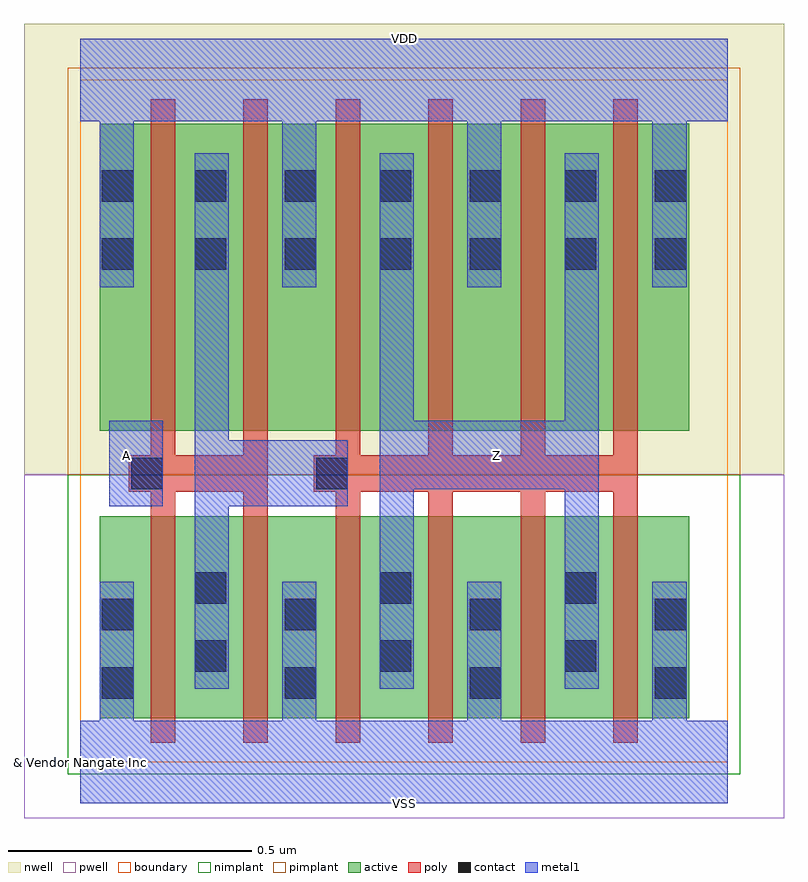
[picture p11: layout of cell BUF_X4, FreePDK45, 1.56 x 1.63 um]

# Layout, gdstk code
import gdstk
lib = gdstk.Library(unit=1e-6, precision=1e-10)
def R(c, l, rs):  # rectangles x0, y0, x1, y1
    for r in rs: c.add(gdstk.rectangle(r[:2], r[2:], *l))
def A(c, l, x, y, w, h, nx, ny, dx, dy):  # array of equal rectangles
    R(c, l, [(x+i*dx, y+j*dy, x+i*dx+w, y+j*dy+h) for i in range(nx) for j in range(ny)])
def P(c, l, *ps):  # polygons
    for p in ps: c.add(gdstk.Polygon(p, *l))
active = (1, 0)
pwell = (2, 0)
nwell = (3, 0)
nimplant = (4, 0)
pimplant = (5, 0)
poly = (9, 0)
contact = (10, 0)
metal1 = (11, 0)
boundary = (235, 0)

buf_x4 = lib.new_cell('BUF_X4')
R(buf_x4, active, [(0.04,0.09,1.25,0.505), (0.04,0.68,1.25,1.31)])
R(buf_x4, pwell, [(-0.115,-0.115,1.445,0.59)])
R(buf_x4, nwell, [(-0.115,0.59,1.445,1.515)])
R(buf_x4, nimplant, [(-0.025,-0.025,1.355,0.59)])
R(buf_x4, pimplant, [(-0.025,0.59,1.355,1.425)])
P(buf_x4, poly, [(0.145,0.04),(0.145,0.555),(0.1,0.555),(0.1,0.63),(0.145,0.63),(0.145,1.36),(0.195,1.36),(0.195,0.63),(0.335,0.63),(0.335,1.36),(0.385,1.36),(0.385,0.04),(0.335,0.04),(0.335,0.555),(0.195,0.555),(0.195,0.04)],
  [(0.525,0.04),(0.525,0.555),(0.48,0.555),(0.48,0.63),(0.525,0.63),(0.525,1.36),(0.575,1.36),(0.575,0.63),(0.715,0.63),(0.715,1.36),(0.765,1.36),(0.765,0.63),(0.905,0.63),(0.905,1.36),(0.955,1.36),(0.955,0.63),(1.095,0.63),(1.095,1.36),(1.145,1.36),(1.145,0.04),(1.095,0.04),(1.095,0.555),(0.955,0.555),(0.955,0.04),(0.905,0.04),(0.905,0.555),(0.765,0.555),(0.765,0.04),(0.715,0.04),(0.715,0.555),(0.575,0.555),(0.575,0.04)])
A(buf_x4, contact, 0.42, 0.13, 0.065, 0.065, 3, 2, 0.38, 0.14)
A(buf_x4, contact, 0.235, 0.185, 0.065, 0.065, 3, 2, 0.38, 0.14)
R(buf_x4, contact, [(0.045,0.13,0.11,0.195), (0.045,0.27,0.11,0.335), (0.105,0.56,0.17,0.625), (0.485,0.56,0.55,0.625), (0.045,1.01,0.11,1.075), (0.235,1.01,0.3,1.075), (0.42,1.01,0.485,1.075), (0.615,1.01,0.68,1.075), (0.8,1.01,0.865,1.075), (0.995,1.01,1.06,1.075), (1.18,1.01,1.245,1.075), (0.045,1.15,0.11,1.215), (0.235,1.15,0.3,1.215), (0.42,1.15,0.485,1.215), (0.615,1.15,0.68,1.215), (0.8,1.15,0.865,1.215), (0.995,1.15,1.06,1.215), (1.18,1.15,1.245,1.215)])
R(buf_x4, metal1, [(0.06,0.525,0.17,0.7)])
P(buf_x4, metal1, [(0.235,0.15),(0.235,1.25),(0.305,1.25),(0.305,0.66),(0.55,0.66),(0.55,0.525),(0.305,0.525),(0.305,0.15)],
  [(0.615,0.15),(0.615,1.25),(0.685,1.25),(0.685,0.7),(0.995,0.7),(0.995,1.25),(1.065,1.25),(1.065,0.15),(0.995,0.15),(0.995,0.56),(0.685,0.56),(0.685,0.15)],
  [(0,-0.085),(0,0.085),(0.04,0.085),(0.04,0.37),(0.11,0.37),(0.11,0.085),(0.415,0.085),(0.415,0.37),(0.485,0.37),(0.485,0.085),(0.795,0.085),(0.795,0.37),(0.865,0.37),(0.865,0.085),(1.175,0.085),(1.175,0.37),(1.245,0.37),(1.245,0.085),(1.33,0.085),(1.33,-0.085)],
  [(0.04,0.975),(0.04,1.315),(0,1.315),(0,1.485),(1.33,1.485),(1.33,1.315),(1.245,1.315),(1.245,0.975),(1.175,0.975),(1.175,1.315),(0.865,1.315),(0.865,0.975),(0.795,0.975),(0.795,1.315),(0.485,1.315),(0.485,0.975),(0.415,0.975),(0.415,1.315),(0.11,1.315),(0.11,0.975)])
R(buf_x4, boundary, [(0,0,1.33,1.4)])
buf_x4.add(gdstk.Label('A', (0.095,0.63), layer=11, texttype=0))
buf_x4.add(gdstk.Label('VDD', (0.665,1.485), layer=11, texttype=0))
buf_x4.add(gdstk.Label('VSS', (0.665,-0.085), layer=11, texttype=0))
buf_x4.add(gdstk.Label('Z', (0.855,0.63), layer=11, texttype=0))
buf_x4.add(gdstk.Label('& Vendor Nangate Inc', (0,0), layer=63, texttype=63))
buf_x4.add(gdstk.Label('& Product Open Cell Library', (0,0), layer=63, texttype=63))
buf_x4.add(gdstk.Label('& Version 2010_12', (0,0), layer=63, texttype=63))
buf_x4.add(gdstk.Label('& Instance BUF_X4', (0,0), layer=63, texttype=63))

lib.write_gds('BUF_X4.gds')
